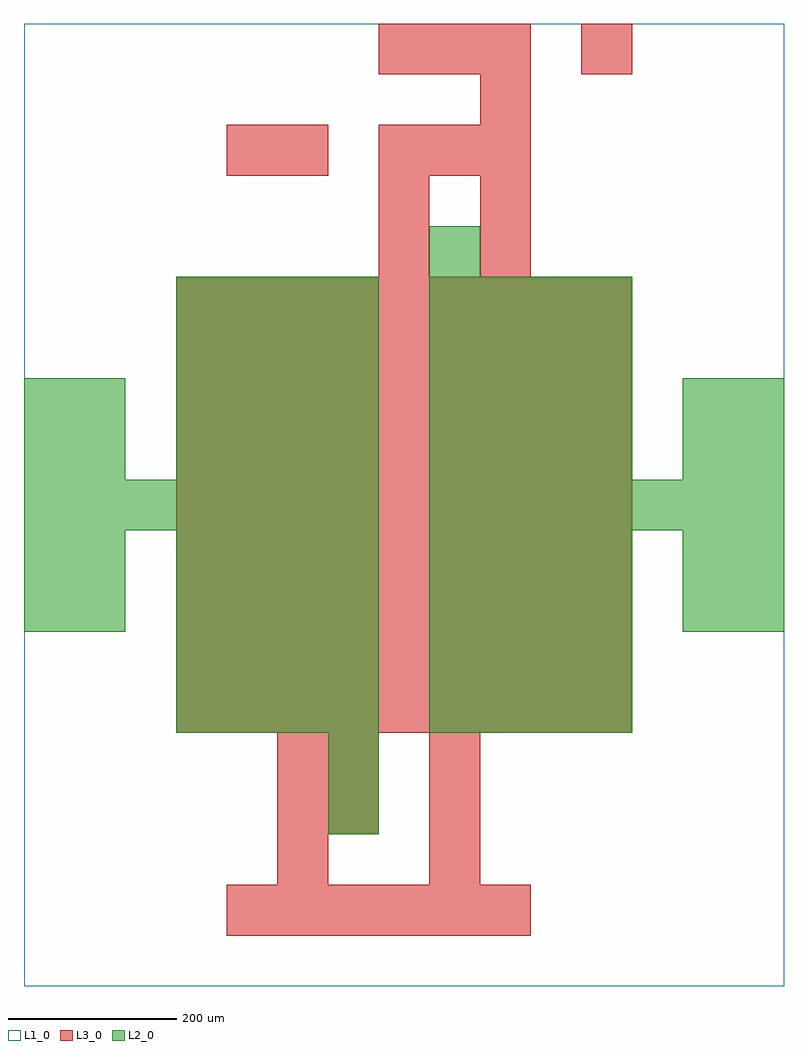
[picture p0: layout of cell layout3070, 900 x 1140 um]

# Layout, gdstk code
import gdstk
lib = gdstk.Library(unit=1e-6, precision=1e-09)
def R(c, l, rs):  # rectangles x0, y0, x1, y1
    for r in rs: c.add(gdstk.rectangle(r[:2], r[2:], *l))
def A(c, l, x, y, w, h, nx, ny, dx, dy):  # array of equal rectangles
    R(c, l, [(x+i*dx, y+j*dy, x+i*dx+w, y+j*dy+h) for i in range(nx) for j in range(ny)])
L1_0 = (1, 0)
L2_0 = (2, 0)
L3_0 = (3, 0)

layout3070 = lib.new_cell('layout3070')
R(layout3070, L1_0, [(0,0,900,1140)])
A(layout3070, L2_0, 180, 300, 60, 60, 4, 4, 60, 60)
A(layout3070, L2_0, 480, 300, 60, 60, 4, 4, 60, 60)
A(layout3070, L2_0, 0, 540, 60, 60, 7, 1, 60, 0)
A(layout3070, L2_0, 480, 540, 60, 60, 7, 1, 60, 0)
A(layout3070, L2_0, 180, 600, 60, 60, 4, 4, 60, 60)
A(layout3070, L2_0, 480, 600, 60, 60, 4, 4, 60, 60)
R(layout3070, L2_0, [(360,180,420,240), (360,240,420,300), (0,420,60,480), (60,420,120,480), (780,420,840,480), (840,420,900,480), (0,480,60,540), (60,480,120,540), (780,480,840,540), (840,480,900,540), (0,600,60,660), (60,600,120,660), (780,600,840,660), (840,600,900,660), (0,660,60,720), (60,660,120,720), (780,660,840,720), (840,660,900,720), (480,840,540,900)])
A(layout3070, L3_0, 240, 60, 60, 60, 6, 1, 60, 0)
A(layout3070, L3_0, 300, 120, 60, 60, 1, 3, 0, 60)
A(layout3070, L3_0, 480, 120, 60, 60, 1, 3, 0, 60)
A(layout3070, L3_0, 180, 300, 60, 60, 9, 9, 60, 60)
A(layout3070, L3_0, 420, 960, 60, 60, 3, 2, 60, 120)
R(layout3070, L3_0, [(360,180,420,240), (360,240,420,300), (420,840,480,900), (540,840,600,900), (420,900,480,960), (540,900,600,960), (240,960,300,1020), (300,960,360,1020), (540,1020,600,1080), (660,1080,720,1140)])

lib.write_gds('layout3070.gds')
